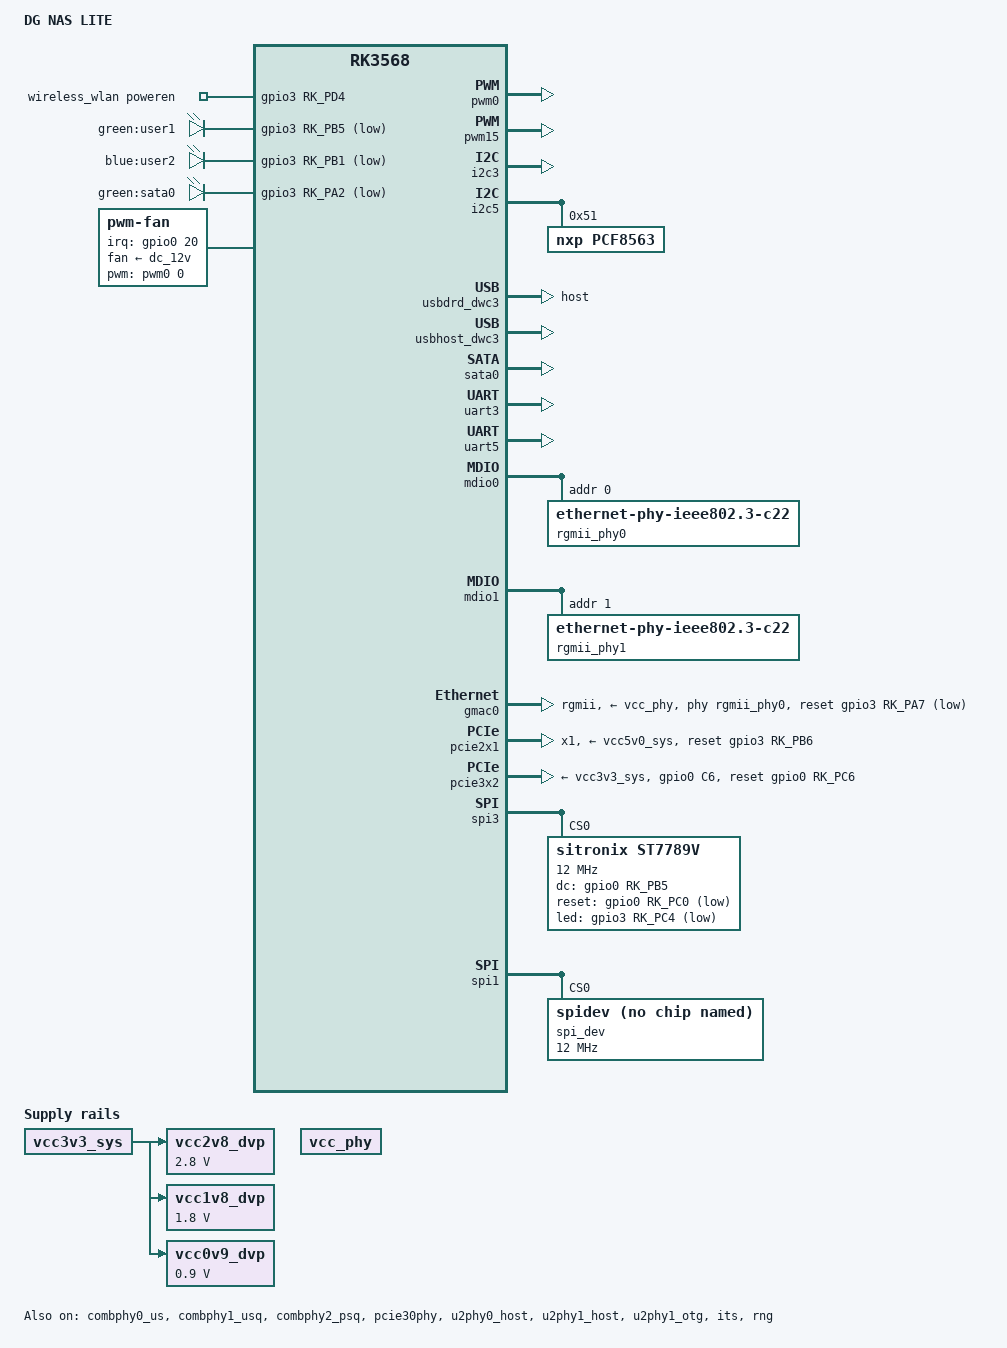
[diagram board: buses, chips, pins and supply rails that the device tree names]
// SPDX-License-Identifier: (GPL-2.0+ OR MIT)
/*
 * Copyright (c) 2020 Rockchip Electronics Co., Ltd.
 *
 */

/dts-v1/;

#include <dt-bindings/display/rockchip_vop.h>
#include "rk3568.dtsi"
#include "rk3568-dg-nas-lite-core.dtsi"
#include "rk3568-linux.dtsi"

/ {
    model = "DG NAS LITE";
	compatible = "dg,nas-lite", "rockchip,rk3568";

	aliases {
		ethernet0 = &gmac0;
		mmc0 = &sdhci;
		mmc1 = &sdmmc0;
	};

	chosen: chosen {
		bootargs = "earlycon=uart8250,mmio32,0xfe660000 console=ttyFIQ0 root=PARTUUID=614e0000-0000 rw rootwait";
	};

	fiq_debugger: fiq-debugger {
		compatible = "rockchip,fiq-debugger";
		rockchip,serial-id = <2>;
		rockchip,wake-irq = <0>;
		/* If enable uart uses irq instead of fiq */
		rockchip,irq-mode-enable = <1>;
		rockchip,baudrate = <1500000>;  /* Only 115200 and 1500000 */
		interrupts = <GIC_SPI 252 IRQ_TYPE_LEVEL_LOW>;
		pinctrl-names = "default";
		pinctrl-0 = <&uart2m0_xfer>;
		status = "okay";
	};

	debug: debug@fd904000 {
		compatible = "rockchip,debug";
		reg = <0x0 0xfd904000 0x0 0x1000>,
			<0x0 0xfd905000 0x0 0x1000>,
			<0x0 0xfd906000 0x0 0x1000>,
			<0x0 0xfd907000 0x0 0x1000>;
	};

	vcc_phy: vcc-phy-regulator {
		compatible = "regulator-fixed";
		regulator-name = "vcc_phy";
		regulator-always-on;
		regulator-boot-on;
	};
	
	vcc2v8_dvp: vcc2v8-sys {
		compatible = "regulator-fixed";
		regulator-name = "vcc2v8_dvp";
		regulator-always-on;
		regulator-boot-on;
		regulator-min-microvolt = <2800000>;
		regulator-max-microvolt = <2800000>;
		vin-supply = <&vcc3v3_sys>;
	};

	vcc1v8_dvp: vcc1v8-dvp {
		compatible = "regulator-fixed";
		regulator-name = "vcc1v8_dvp";
		regulator-always-on;
		regulator-boot-on;
		regulator-min-microvolt = <1800000>;
		regulator-max-microvolt = <1800000>;
		vin-supply = <&vcc3v3_sys>;
	};
/*
	vcc1v5_dvp: vcc1v5-dvp {
		compatible = "regulator-fixed";
		regulator-name = "vcc1v5_dvp";
		regulator-always-on;
		regulator-boot-on;
		regulator-min-microvolt = <1500000>;
		regulator-max-microvolt = <1500000>;
		vin-supply = <&vcc3v3_sys>;
	};
*/

	vcc0v9_dvp: vcc0v9-dvp {
		compatible = "regulator-fixed";
		regulator-name = "vcc0v9_dvp";
		regulator-always-on;
		regulator-boot-on;
		regulator-min-microvolt = <900000>;
		regulator-max-microvolt = <900000>;
		vin-supply = <&vcc3v3_sys>;
	};

/*
	sdio_pwrseq: sdio-pwrseq {
		compatible = "mmc-pwrseq-simple";
		// clocks = <&rk809 1>;
		// clock-names = "ext_clock";
		pinctrl-names = "default";
		pinctrl-0 = <&wifi_enable_h>;

		post-power-on-delay-ms = <200>;
		reset-gpios = <&gpio3 RK_PD4 GPIO_ACTIVE_LOW>;
		status = "disabled";
	};

	vcc3v3_wifi: vcc3v3-wifi {
		compatible = "regulator-fixed";
		regulator-name = "vcc3v3_wifi";
		regulator-always-on;
		regulator-boot-on;
		regulator-min-microvolt = <3300000>;
		regulator-max-microvolt = <3300000>;
		enable-active-high;
		gpio = <&gpio3 RK_PD4 GPIO_ACTIVE_HIGH>;
		pinctrl-names = "default";
		pinctrl-0 = <&wifi_enable_h>;
		vin-supply = <&vcc3v3_sys>;
	};
*/	
    //wifi
    wireless_wlan {
        compatible = "wlan-platdata";    
        wifi_chip_type = "rtl8723du";
        rockchip,grf = <&grf>;
        WIFI,poweren_gpio = <&gpio3 RK_PD4 GPIO_ACTIVE_HIGH>;
        keep_wifi_power_on;
        status = "okay";
    };
	
	wireless_bluetooth: wireless-bluetooth {
		compatible = "bluetooth-platdata";
		clocks = <&rk809 1>;
		clock-names = "ext_clock";
		//wifi-bt-power-toggle;
		status = "okay";
	};	

	leds {
		compatible = "gpio-leds";
		pinctrl-names = "default";
		pinctrl-0 = <&led_user_1>, <&led_user_2>, <&led_sata_0>;

		led-user1 {
			label = "green:user1";
			gpios = <&gpio3 RK_PB5 GPIO_ACTIVE_LOW>;
			linux,default-trigger = "heartbeat";
		};

		led-user2 {
			label = "blue:user2";
			gpios = <&gpio3 RK_PB1 GPIO_ACTIVE_LOW>;
		};

		led-sata0 {
			label = "green:sata0";
			gpios = <&gpio3 RK_PA2 GPIO_ACTIVE_LOW>;
		};
	};
	
	fan: pwm-fan {
		compatible = "pwm-fan";
		pwms = <&pwm0 0 40000 0>;
		fan-supply = <&dc_12v>;
		interrupt-parent = <&gpio0>;
		interrupts = <20 IRQ_TYPE_EDGE_FALLING>;
		pulses-per-revolution = <2>;
	};	
	
};

&pwm0 {
	pinctrl-0 = <&pwm0m1_pins>;
	//4.19内核需要配置为default
	pinctrl-names = "default";
	status = "okay";
};

&pwm4 {
	status = "disabled";
};

&pwm5 {
	status = "disabled";
};

&pwm15 {
	compatible = "rockchip,remotectl-pwm";
	pinctrl-names = "default";
//	pinctrl-names = "active";	
	pinctrl-0 = <&pwm15m0_pins>;
	remote_pwm_id = <3>;
	handle_cpu_id = <1>;
	remote_support_psci = <0>;
	status = "okay";

	ir_key1 {
		rockchip,usercode = <0x4040>;
		rockchip,key_table =
			<0xf2	KEY_REPLY>,
			<0xba	KEY_BACK>,
			<0xf4	KEY_UP>,
			<0xf1	KEY_DOWN>,
			<0xef	KEY_LEFT>,
			<0xee	KEY_RIGHT>,
			<0xbd	KEY_HOME>,
			<0xea	KEY_VOLUMEUP>,
			<0xe3	KEY_VOLUMEDOWN>,
			<0xe2	KEY_SEARCH>,
			<0xb2	KEY_POWER>,
			<0xbc	KEY_MUTE>,
			<0xec	KEY_MENU>,
			<0xbf	0x190>,
			<0xe0	0x191>,
			<0xe1	0x192>,
			<0xe9	183>,
			<0xe6	248>,
			<0xe8	185>,
			<0xe7	186>,
			<0xf0	388>,
			<0xbe	0x175>;
	};

	ir_key2 {
		rockchip,usercode = <0xff00>;
		rockchip,key_table =
			<0xf9	KEY_HOME>,
			<0xbf	KEY_BACK>,
			<0xfb	KEY_MENU>,
			<0xaa	KEY_REPLY>,
			<0xb9	KEY_UP>,
			<0xe9	KEY_DOWN>,
			<0xb8	KEY_LEFT>,
			<0xea	KEY_RIGHT>,
			<0xeb	KEY_VOLUMEDOWN>,
			<0xef	KEY_VOLUMEUP>,
			<0xf7	KEY_MUTE>,
			<0xe7	KEY_POWER>,
			<0xfc	KEY_POWER>,
			<0xa9	KEY_VOLUMEDOWN>,
			<0xa8	KEY_PLAYPAUSE>,
			<0xe0	KEY_VOLUMEDOWN>,
			<0xa5	KEY_VOLUMEDOWN>,
			<0xab	183>,
			<0xb7	388>,
			<0xe8	388>,
			<0xf8	184>,
			<0xaf	185>,
			<0xed	KEY_VOLUMEDOWN>,
			<0xee	186>,
			<0xb3	KEY_VOLUMEDOWN>,
			<0xf1	KEY_VOLUMEDOWN>,
			<0xf2	KEY_VOLUMEDOWN>,
			<0xf3	KEY_SEARCH>,
			<0xb4	KEY_VOLUMEDOWN>,
			<0xa4	KEY_SETUP>,
			<0xbe	KEY_SEARCH>;
	};

	ir_key3 {
		rockchip,usercode = <0x1dcc>;
		rockchip,key_table =
			<0xee	KEY_REPLY>,
			<0xf0	KEY_BACK>,
			<0xf8	KEY_UP>,
			<0xbb	KEY_DOWN>,
			<0xef	KEY_LEFT>,
			<0xed	KEY_RIGHT>,
			<0xfc	KEY_HOME>,
			<0xf1	KEY_VOLUMEUP>,
			<0xfd	KEY_VOLUMEDOWN>,
			<0xb7	KEY_SEARCH>,
			<0xff	KEY_POWER>,
			<0xf3	KEY_MUTE>,
			<0xbf	KEY_MENU>,
			<0xf9	0x191>,
			<0xf5	0x192>,
			<0xb3	388>,
			<0xbe	KEY_1>,
			<0xba	KEY_2>,
			<0xb2	KEY_3>,
			<0xbd	KEY_4>,
			<0xf9	KEY_5>,
			<0xb1	KEY_6>,
			<0xfc	KEY_7>,
			<0xf8	KEY_8>,
			<0xb0	KEY_9>,
			<0xb6	KEY_0>,
			<0xb5	KEY_BACKSPACE>;
	};
	
	ir_key4 { //jp-box
		rockchip,usercode = <0xfd01>;
		rockchip,key_table =
			<0x31   KEY_REPLY>,
			<0x2f   KEY_BACK>,
			<0x35   KEY_UP>,
			<0x2d   KEY_DOWN>,
			<0x66   KEY_LEFT>,
			<0x3e   KEY_RIGHT>,
			<0x6a   KEY_HOME>,
			<0x5e   KEY_VOLUMEUP>,
			<0x47   KEY_VOLUMEDOWN>,
			<0x23   KEY_POWER>,
			<0x3a   388>,
			<0x0d   KEY_F6>;
	};	
	
/*
key 102   HOME
key 158   BACK
key 108   DPAD_DOWN
key 103   DPAD_UP
key 105   DPAD_LEFT
key 106   DPAD_RIGHT
key 115   VOLUME_UP
key 114   VOLUME_DOWN
key 116   POWER
key 232   DPAD_CENTER
key 388   PROFILE_SWITCH
key 64    TV_MEDIA_PLAY	
*/	
};	
	


&csi2_dphy_hw {
	status = "disabled";
};

&csi2_dphy0 {
	status = "disabled";
};

&rkisp {
	status = "disabled";
};

&rkisp_mmu {
	status = "disabled";
};

&rkisp_vir0 {
	status = "disabled";
};


&i2c2 {
	status = "disabled";
};

&i2c3 {
	status = "okay";
};

&i2c4 {
	status = "disabled";
};

&i2c5 {
	status = "okay";

	pcf8563: rtc@51 {
		status = "okay";
		compatible = "nxp,pcf8563";
		reg = <0x51>;
		#clock-cells = <0>;
	};
	
};


/*USB3.0 controller 对应lede usb_host0_xhci */
&usbdrd_dwc3 {
	dr_mode = "host";
	extcon = <&usb2phy0>;
	status = "okay";
};

/*USB3.0 OTG PHY*/
&combphy0_us {
	status = "okay";
};

/*USB 3.0 HOST 与 SATA1 复用 对应lede usb_host1_xhci */

&usbhost_dwc3 { 
    status = "okay"; 
};


/* 对应lede combphy1 */
&combphy1_usq { 
//    rockchip,dis-u3otg1-port; 
    status = "okay"; 
};

&sata0 {
	status = "okay";
};

&sata1 {
    status = "disabled";
};

/* PCIE */
&combphy2_psq {
	status = "okay";
};

&uart0 {
	status = "disabled";
	pinctrl-names = "default";
	pinctrl-0 = <&uart0_xfer>;
};

&uart1 {
	status = "disabled";
};

&uart2 {
	status = "disabled";
};

&uart3 {
	status = "okay";
	pinctrl-names = "default";
	pinctrl-0 = <&uart3m1_xfer>;
};

&uart4 {
	status = "disabled";
	pinctrl-names = "default";
	pinctrl-0 = <&uart4m0_xfer>;
};

&uart5 {
	status = "okay";
	pinctrl-names = "default";
	pinctrl-0 = <&uart5m1_xfer>;
};

&uart7 {
	status = "disabled";
//	pinctrl-names = "default";
//	pinctrl-0 = <&uart7m1_xfer>;
};

&uart8 {
	status = "disabled";
	pinctrl-names = "default";
	pinctrl-0 = <&uart8m0_xfer>;
};

&mdio0 {
	rgmii_phy0: phy@0 {
		compatible = "ethernet-phy-ieee802.3-c22";
		reg = <0x0>;
	};
};

&mdio1 {
	rgmii_phy1: phy@1 {
		compatible = "ethernet-phy-ieee802.3-c22";
		reg = <0x1>;
	};
};

&gmac0 {
	phy-mode = "rgmii";
	//clock_in_out = "output";
	clock_in_out = "input";
	
	snps,reset-gpio = <&gpio3 RK_PA7 GPIO_ACTIVE_LOW>;
	snps,reset-active-low;
	/* Reset time is 20ms, 100ms for rtl8211f */
	snps,reset-delays-us = <0 20000 100000>;

	assigned-clocks = <&cru SCLK_GMAC0_RX_TX>, <&cru SCLK_GMAC0>;
	assigned-clock-parents = <&cru SCLK_GMAC0_RGMII_SPEED>, <&cru CLK_MAC0_2TOP>;
	assigned-clock-rates = <0>, <125000000>;

	pinctrl-names = "default";
	pinctrl-0 = <&gmac0_miim
		     &gmac0_tx_bus2
		     &gmac0_rx_bus2
		     &gmac0_rgmii_clk
		     &gmac0_rgmii_bus>;

	tx_delay = <0x2e>;
	rx_delay = <0x2a>;

	phy-handle = <&rgmii_phy0>;
	phy-supply = <&vcc_phy>;
	status = "okay";	
};

&gmac1 {
	phy-mode = "rgmii";
	//clock_in_out = "output";
	clock_in_out = "input";

	snps,reset-gpio = <&gpio3 RK_PA6 GPIO_ACTIVE_LOW>;
	snps,reset-active-low;
	
	snps,reset-delays-us = <0 20000 100000>;

	assigned-clocks = <&cru SCLK_GMAC1_RX_TX>, <&cru SCLK_GMAC1>;
	assigned-clock-parents = <&cru SCLK_GMAC1_RGMII_SPEED>, <&cru CLK_MAC1_2TOP>;
	assigned-clock-rates = <0>, <125000000>;
	
	pinctrl-names = "default";
	pinctrl-0 = <&gmac1m1_miim
		     &gmac1m1_tx_bus2
		     &gmac1m1_rx_bus2
		     &gmac1m1_rgmii_clk
		     &gmac1m1_rgmii_bus>;

	tx_delay = <0x3d>;
	rx_delay = <0x23>;

	phy-handle = <&rgmii_phy1>;
	phy-supply = <&vcc_phy>;
	status = "disabled";
};
/*
&sdmmc2 {
		supports-sdio;
		bus-width = <0x4>;
		disable-wp;
		cap-sd-highspeed;
		cap-sdio-irq;
		keep-power-in-suspend;
//		mmc-pwrseq = <&sdio_pwrseq>;
		non-removable;
		pinctrl-names = "default";
		pinctrl-0 = <&sdmmc2m0_bus4 &sdmmc2m0_cmd &sdmmc2m0_clk>;
		sd-uhs-sdr104;
		status = "disabled";
};
*/
&can1 {
	assigned-clocks = <&cru CLK_CAN1>;
	assigned-clock-rates = <150000000>;
	pinctrl-names = "default";
	pinctrl-0 = <&can1m1_pins>;
	status = "disabled";
};

&can2 {
	assigned-clocks = <&cru CLK_CAN2>;
	assigned-clock-rates = <150000000>;
	pinctrl-names = "default";
	pinctrl-0 = <&can2m1_pins>;
	status = "disabled";
};

	
&pcie2x1 {
	num-lanes = <1>;
	num-viewport = <4>;
	pinctrl-0 = <&asm1064_rst>;
	reset-gpios = <&gpio3 RK_PB6 GPIO_ACTIVE_HIGH>;	
	vpcie3v3-supply = <&vcc5v0_sys>;
	status = "okay";
};

&pcie30phy {
	status = "okay";
};

&pcie3x2 {
	pinctrl-names = "default";
	pinctrl-0 = <&pcie_reset_h>;
	reset-gpios = <&gpio0 RK_PC6 GPIO_ACTIVE_HIGH>;
	vpcie3v3-supply = <&vcc3v3_sys>;
	status = "okay";
};

&spi3 {
	status = "okay";
	pinctrl-names = "default";
	pinctrl-0 = <&spi3m1_cs0 &spi3m1_pins>;
//	pinctrl-1 = <&spi3m1_cs0 &spi3m1_pins_hs>;
	st7789v@0 {
			status = "okay";
            compatible = "sitronix,st7789v";
            reg = <0>;
            spi-max-frequency = <12000000>;           
			bgr;
            fps = <30>;
			rotate = <90>;
            buswidth = <8>; 
			dc-gpios = <&gpio0 RK_PB5 GPIO_ACTIVE_HIGH>;  
            reset-gpios = <&gpio0 RK_PC0 GPIO_ACTIVE_LOW>; 
            led-gpios = <&gpio3 RK_PC4 GPIO_ACTIVE_LOW>;           
            debug = <0>; //等级0～7 越高信息越多
       };
};

&pwm7 {
	status = "disabled";
};


&rk809_codec {
	status = "disabled";
	spk-mute-delay-ms = <30>;
};

&rk809_sound {
	status = "disabled";
};

&spi1 {
	status = "okay";
	pinctrl-names = "default";
	pinctrl-0 = <3 RK_PC1 3 &pcfg_pull_none>;
	spi_dev@00 {
		compatible = "rockchip,spidev";
		reg = <0x0>;
		spi-max-frequency = <0xb71b00>;
	};	
};


/* 对应lede usb2phy0_host */
&u2phy0_host {
	phy-supply = <&vcc5v0_host>;
	status = "okay";
};

/* 对应lede usb2phy0_otg */
&u2phy0_otg {
//	vbus-supply = <&vcc5v0_otg>;
	status = "disabled";
};

/* lede usb2phy1_host */
&u2phy1_host {
	phy-supply = <&vcc5v0_host>;
	status = "okay";
};

/* lede usb2phy1_otg */
&u2phy1_otg {
	phy-supply = <&vcc5v0_host>;
	status = "okay";
};


&pinctrl {
/*
	wifi {
		wifi_enable_h: wifi-enable-h {
			rockchip,pins = <3 RK_PD4 RK_FUNC_GPIO &pcfg_pull_none>;
		};
	};
*/
	leds {
		led_user_1: led_user_1 {
			rockchip,pins = <3 RK_PB5 RK_FUNC_GPIO &pcfg_pull_none>;
		};

		led_user_2: led_user_2 {
			rockchip,pins = <3 RK_PB1 RK_FUNC_GPIO &pcfg_pull_none>;
		};

		led_sata_0: led_sata_0 {
			rockchip,pins = <3 RK_PA2 RK_FUNC_GPIO &pcfg_pull_none>;
		};
	};

	spi1 {
		/omit-if-no-ref/
		spi1m1_mosi: spi1m1-mosi {
			rockchip,pins =
				<3 RK_PC1 3 &pcfg_pull_none>;
		};	

	};

	fan-fg {
        fg_pin: fg-pin {
            rockchip,pins = <0 RK_PC4 RK_FUNC_GPIO &pcfg_pull_up>;
        };
	};

	pcie {
		pcie_reset_h: pcie-reset-h {
			rockchip,pins = <0 RK_PC6 RK_FUNC_GPIO &pcfg_pull_none>;
		};
	};	

};

&its {
	status = "okay";
};

&rng {
	status = "okay";
};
